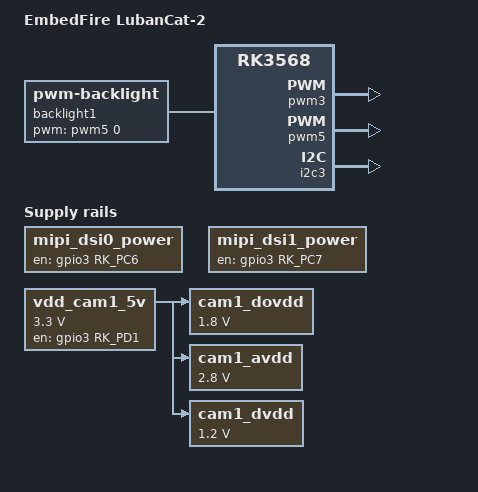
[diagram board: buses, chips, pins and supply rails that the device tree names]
// SPDX-License-Identifier: (GPL-2.0+ OR MIT)
/*
 * Copyright (c) 2020 Rockchip Electronics Co., Ltd.
 *
 */

#include "rk3568-lubancat-2.dtsi"
// 双摄像头
#include "rk3568-lubancat-csi2-double.dtsi"

// 删除rk3568-lubancat-csi2-double.dtsi中i2c5中的cam1节点
/delete-node/ &cam1_dw9714;
/delete-node/ &cam1_ov5648;
/delete-node/ &cam1_ov8858;
/delete-node/ &cam1_ov5647;
/delete-node/ &cam1_sc132gs;

/ {
	model = "EmbedFire LubanCat-2";
	compatible = "embedfire,lubancat-2-v2", "rockchip,rk3568";

	mipi_dsi0_power: mipi-dsi0-power-regulator {
		compatible = "regulator-fixed";
		enable-active-high;
		gpio = <&gpio3 RK_PC6 GPIO_ACTIVE_HIGH>;
		pinctrl-names = "default";
		pinctrl-0 = <&mipi_dsi0_pwr_en>;
		regulator-name = "mipi_dsi0_power";
		regulator-always-on;
	};

	mipi_dsi1_power: mipi-dsi1-power-regulator {
		compatible = "regulator-fixed";
		enable-active-high;
		gpio = <&gpio3 RK_PC7 GPIO_ACTIVE_HIGH>;
		pinctrl-names = "default";
		pinctrl-0 = <&mipi_dsi1_pwr_en>;
		regulator-name = "mipi_dsi1_power";
		regulator-always-on;
	};

	vdd_cam1_5v: vdd-cam1-5v-regulator {
		compatible = "regulator-fixed";
		regulator-name = "vdd_cam1_5v";
		regulator-min-microvolt = <3300000>;
		regulator-max-microvolt = <3300000>;
		gpio = <&gpio3 RK_PD1 GPIO_ACTIVE_HIGH>;
		pinctrl-names = "default";
		pinctrl-0 = <&cam1_pwr_en>;
		enable-active-high;
		regulator-always-on;
	};

	cam1_dovdd: cam1-dovdd {
		compatible = "regulator-fixed";
		regulator-name = "cam1_dovdd";
		regulator-always-on;
		regulator-boot-on;
		regulator-min-microvolt = <1800000>;
		regulator-max-microvolt = <1800000>;
		vin-supply = <&vdd_cam1_5v>;
	};

	cam1_avdd: cam1-avdd {
		compatible = "regulator-fixed";
		regulator-name = "cam1_avdd";
		regulator-always-on;
		regulator-boot-on;
		regulator-min-microvolt = <2800000>;
		regulator-max-microvolt = <2800000>;
		vin-supply = <&vdd_cam1_5v>;
	};

	cam1_dvdd: cam1-dvdd {
		compatible = "regulator-fixed";
		regulator-name = "cam1_dvdd";
		regulator-always-on;
		regulator-boot-on;
		regulator-min-microvolt = <1200000>;
		regulator-max-microvolt = <1200000>;
		vin-supply = <&vdd_cam1_5v>;
	};

	backlight1: backlight1 {
		status = "okay";
		compatible = "pwm-backlight";
		pwms = <&pwm5 0 50000 0>;
		brightness-levels = <
			 95  95  95  95  95  95  95  95
			 95  95  95  95  95  95  95  95
			 95  95  95  95  95  95  95  95
			 95  95  95  95  95  95  95  95
			 95  95  95  95  95  95  95  95
			 95  95  95  95  95  95  95  95
			 95  95  95  95  95  95  95  95
			 95  95  95  95  95  95  95  95
			 95  95  95  95  95  95  95  95
			 95  95  95  95  95  95  95  95
			 95  95  95  95  95  95  95  95
			 88  89  90  91  92  93  94  95
			 96  97  98  99 100 101 102 103
			104 105 106 107 108 109 110 111
			112 113 114 115 116 117 118 119
			120 121 122 123 124 125 126 127
			128 129 130 131 132 133 134 135
			136 137 138 139 140 141 142 143
			144 145 146 147 148 149 150 151
			152 153 154 155 156 157 158 159
			160 161 162 163 164 165 166 167
			168 169 170 171 172 173 174 175
			176 177 178 179 180 181 182 183
			184 185 186 187 188 189 190 191
			192 193 194 195 196 197 198 199
			200 201 202 203 204 205 206 207
			208 209 210 211 212 213 214 215
			216 217 218 219 220 221 222 223
			224 225 226 227 228 229 230 231
			232 233 234 235 236 237 238 239
			240 241 242 243 244 245 246 247
			248 249 250 251 252 253 254 255
		>;
		default-brightness-level = <200>;
	};
};

&pwm3 {
	status = "okay";

	compatible = "rockchip,remotectl-pwm";
	interrupts = <GIC_SPI 82 IRQ_TYPE_LEVEL_HIGH>;
	remote_pwm_id = <3>;
	handle_cpu_id = <1>;
	remote_support_psci = <0>;
	pinctrl-names = "default";
	pinctrl-0 = <&pwm3_pins>;

	ir_key_lubancat{
		rockchip,usercode = <0x909>;
		rockchip,key_table =
			<0xf4   KEY_POWER>,
			<0xe6   KEY_SLEEP>,
			<0xe4   KEY_WAKEUP>,
			<0xed   KEY_VOLUMEUP>,
			<0xec   KEY_VOLUMEDOWN>,
			<0xef   KEY_UP>,
			<0xee   KEY_DOWN>;
	};

	ir_key1 {
		rockchip,usercode = <0x4040>;
		rockchip,key_table =
			<0xf2	KEY_REPLY>,
			<0xba	KEY_BACK>,
			<0xf4	KEY_UP>,
			<0xf1	KEY_DOWN>,
			<0xef	KEY_LEFT>,
			<0xee	KEY_RIGHT>,
			<0xbd	KEY_HOME>,
			<0xea	KEY_VOLUMEUP>,
			<0xe3	KEY_VOLUMEDOWN>,
			<0xe2	KEY_SEARCH>,
			<0xb2	KEY_POWER>,
			<0xbc	KEY_MUTE>,
			<0xec	KEY_MENU>,
			<0xbf	0x190>,
			<0xe0	0x191>,
			<0xe1	0x192>,
			<0xe9	183>,
			<0xe6	248>,
			<0xe8	185>,
			<0xe7	186>,
			<0xf0	388>,
			<0xbe	0x175>;
	};

	ir_key2 {
		rockchip,usercode = <0xff00>;
		rockchip,key_table =
			<0xf9	KEY_HOME>,
			<0xbf	KEY_BACK>,
			<0xfb	KEY_MENU>,
			<0xaa	KEY_REPLY>,
			<0xb9	KEY_UP>,
			<0xe9	KEY_DOWN>,
			<0xb8	KEY_LEFT>,
			<0xea	KEY_RIGHT>,
			<0xeb	KEY_VOLUMEDOWN>,
			<0xef	KEY_VOLUMEUP>,
			<0xf7	KEY_MUTE>,
			<0xe7	KEY_POWER>,
			<0xfc	KEY_POWER>,
			<0xa9	KEY_VOLUMEDOWN>,
			<0xa8	KEY_VOLUMEDOWN>,
			<0xe0	KEY_VOLUMEDOWN>,
			<0xa5	KEY_VOLUMEDOWN>,
			<0xab	183>,
			<0xb7	388>,
			<0xe8	388>,
			<0xf8	184>,
			<0xaf	185>,
			<0xed	KEY_VOLUMEDOWN>,
			<0xee	186>,
			<0xb3	KEY_VOLUMEDOWN>,
			<0xf1	KEY_VOLUMEDOWN>,
			<0xf2	KEY_VOLUMEDOWN>,
			<0xf3	KEY_SEARCH>,
			<0xb4	KEY_VOLUMEDOWN>,
			<0xbe	KEY_SEARCH>;
	};

	ir_key3 {
		rockchip,usercode = <0x1dcc>;
		rockchip,key_table =
			<0xee	KEY_REPLY>,
			<0xf0	KEY_BACK>,
			<0xf8	KEY_UP>,
			<0xbb	KEY_DOWN>,
			<0xef	KEY_LEFT>,
			<0xed	KEY_RIGHT>,
			<0xfc	KEY_HOME>,
			<0xf1	KEY_VOLUMEUP>,
			<0xfd	KEY_VOLUMEDOWN>,
			<0xb7	KEY_SEARCH>,
			<0xff	KEY_POWER>,
			<0xf3	KEY_MUTE>,
			<0xbf	KEY_MENU>,
			<0xf9	0x191>,
			<0xf5	0x192>,
			<0xb3	388>,
			<0xbe	KEY_1>,
			<0xba	KEY_2>,
			<0xb2	KEY_3>,
			<0xbd	KEY_4>,
			<0xf9	KEY_5>,
			<0xb1	KEY_6>,
			<0xfc	KEY_7>,
			<0xf8	KEY_8>,
			<0xb0	KEY_9>,
			<0xb6	KEY_0>,
			<0xb5	KEY_BACKSPACE>;
	};
};

&pwm5 {
	status = "okay";
};

&rockchip_suspend {
	status = "okay";
};

&vdd_cam_5v {
	gpio = <&gpio3 RK_PD0 GPIO_ACTIVE_HIGH>;
	pinctrl-names = "default";
	pinctrl-0 = <&cam_pwr_en>;
};

&cam_pwr_en {
	rockchip,pins = <3 RK_PD0 RK_FUNC_GPIO &pcfg_pull_none>;
};

//cam0-gpio-setting
&ov5647 {
    pwdn-gpios = <&gpio0 RK_PC0 GPIO_ACTIVE_HIGH>;
};

&ov5648 {
	pwdn-gpios = <&gpio0 RK_PC0 GPIO_ACTIVE_HIGH>;
	reset-gpios = <&gpio0 RK_PC1 GPIO_ACTIVE_LOW>;
};

&ov8858 {
	pwdn-gpios = <&gpio0 RK_PC0 GPIO_ACTIVE_HIGH>;
	reset-gpios = <&gpio0 RK_PC1 GPIO_ACTIVE_HIGH>;
};

&sc132gs {
	pwdn-gpios = <&gpio0 RK_PC0 GPIO_ACTIVE_HIGH>;
	reset-gpios = <&gpio0 RK_PC1 GPIO_ACTIVE_HIGH>;
};

&i2c3 {
	pinctrl-names = "default";
	status = "okay";
	// ov5648 Camare
	cam1_dw9714: cam1_dw9714@0c {
		status = "disabled";
		compatible = "dongwoon,dw9714";
		reg = <0x0c>;
		rockchip,camera-module-index = <1>;
		rockchip,vcm-max-current = <100>;
		rockchip,vcm-start-current = <0>;
		rockchip,vcm-rated-current = <100>;
		rockchip,vcm-step-mode = <0xd>;
		rockchip,vcm-dlc-enable = <0>;
		rockchip,vcm-mclk = <0>;	
		rockchip,vcm-t-src = <0>;
		rockchip,camera-module-facing = "front";
	};

	cam1_ov5648: cam1_camera@36 {
		compatible = "ovti,ov5648";
		status = "disabled";
		reg = <0x36>;
		clocks = <&ext_cam1_clk>;
		clock-names = "xvclk";
		pwdn-gpios = <&gpio3 RK_PC4 GPIO_ACTIVE_HIGH>;
		reset-gpios = <&gpio3 RK_PA3 GPIO_ACTIVE_LOW>;
		dovdd-supply= <&cam1_dovdd>; /* 1.8v */
		avdd-supply = <&cam1_avdd>;  /* 2.8v */
		dvdd-supply = <&cam1_dvdd>;  /* 1.2v */
		rotation = <180>;

		rockchip,camera-module-index = <1>;
		rockchip,camera-module-facing = "front";
		rockchip,camera-module-name = "THDS11073";
		rockchip,camera-module-lens-name = "Largan-40122a1";
		lens-focus = <&cam1_dw9714>;

		port {
			/* MIPI CSI-2 bus endpoint */
			cam1_ov5648_out: endpoint {
				remote-endpoint = <&dphy2_in_ov5648>;
				clock-lanes = <0>;
				data-lanes = <1 2>;
			};
		};
	};

	cam1_ov8858: cam1_ov8858@36 {
		compatible = "ovti,ov8858";
		status = "disabled";
		reg = <0x36>;
		clocks = <&ext_cam1_clk>;
		clock-names = "xvclk";
		pwdn-gpios = <&gpio3 RK_PC4 GPIO_ACTIVE_HIGH>;
		reset-gpios = <&gpio3 RK_PA3 GPIO_ACTIVE_HIGH>;
		dovdd-supply= <&cam1_dovdd>; /* 1.8v */
		avdd-supply = <&cam1_avdd>;  /* 2.8v */
		dvdd-supply = <&cam1_dvdd>;  /* 1.2v */
		rotation = <180>;
		
		rockchip,camera-module-index = <1>;
		rockchip,camera-module-facing = "front";
		rockchip,camera-module-name = "HS5885-BNSM1018-V01";
		rockchip,camera-module-lens-name = "default";
		lens-focus = <&cam1_dw9714>;

		port {
			/* MIPI CSI-2 bus endpoint */
			cam1_ov8858_out: endpoint {
				remote-endpoint = <&dphy2_in_ov8858>;
				clock-lanes = <0>;
				data-lanes = <1 2>;
			};
		};
	};

	cam1_ov5647: cam1_ov5647@36 {
		compatible = "ovti,ov5647";
		status = "disabled";
		reg = <0x36>;
		clocks = <&ext_cam1_25m_clk>;
		clock-names = "ext_cam1_25m_clk";
		lens-focus = <&dw9714>;
    	pwdn-gpios = <&gpio3 RK_PC4 GPIO_ACTIVE_HIGH>;

		port {
			cam1_ov5647_out: endpoint {
				remote-endpoint = <&dphy2_in_ov5647>;
				data-lanes = <1 2>;
			};
		};
	};

	cam1_sc132gs: cam1_sc132gs@30 {
		compatible = "smartsens,sc132gs";
		status = "disabled";
		reg = <0x30>;
		clocks = <&ext_cam1_clk>;
		clock-names = "xvclk";
		pwdn-gpios = <&gpio3 RK_PC4 GPIO_ACTIVE_HIGH>;
		reset-gpios = <&gpio3 RK_PA3 GPIO_ACTIVE_HIGH>;
		dovdd-supply= <&cam1_dovdd>; /* 1.8v */
		avdd-supply = <&cam1_avdd>;  /* 2.8v */
		dvdd-supply = <&cam1_dvdd>;  /* 1.2v */

		rockchip,camera-module-index = <1>;
		rockchip,camera-module-facing = "back";
		rockchip,camera-module-name = "default";
		rockchip,camera-module-lens-name = "default";

		port {
			cam1_sc132gs_out: endpoint {
				remote-endpoint = <&dphy2_in_sc132gs>;
				clock-lanes = <0>;
				data-lanes = <1>;
			};
		};
	};
};

&pinctrl {
	lcd {
		mipi_dsi0_pwr_en: mipi-dsi0-pwr-en {
			rockchip,pins = <3 RK_PC6 RK_FUNC_GPIO &pcfg_pull_none>;
		};

		mipi_dsi1_pwr_en: mipi-dsi1-pwr-en {
			rockchip,pins = <3 RK_PC7 RK_FUNC_GPIO &pcfg_pull_none>;
		};
	};

	cam {
		cam1_pwr_en: cam1_pwr_en {
			rockchip,pins = <3 RK_PD1 RK_FUNC_GPIO &pcfg_pull_none>;
		};
	};
};
